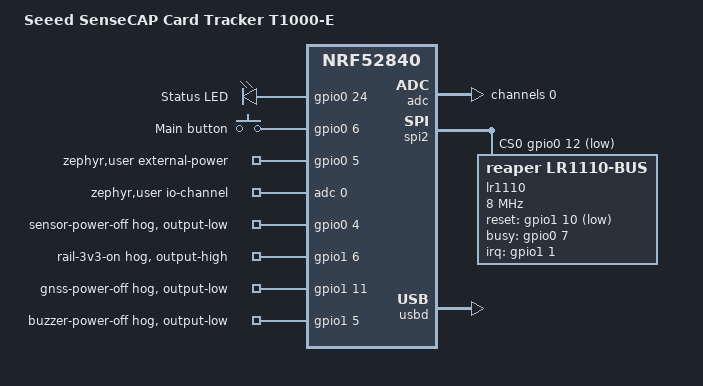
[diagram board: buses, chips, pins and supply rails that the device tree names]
/*
 * Seeed SenseCAP Card Tracker T1000-E: nRF52840 with a Semtech LR1110, the factory Adafruit nRF52
 * UF2 bootloader and SoftDevice S140 v7. Pins follow Seeed's T1000-E reference firmware; see
 * docs/guides/hardware.md. GNSS, the accelerometer, the light and temperature sensors and the
 * buzzer are not used, and their power stays off.
 */

/dts-v1/;
#include <nordic/nrf52840_qiaa.dtsi>
#include <zephyr/dt-bindings/adc/nrf-saadc.h>
#include "t1000_e-pinctrl.dtsi"

/ {
	model = "Seeed SenseCAP Card Tracker T1000-E";
	compatible = "seeed,t1000-e";

	chosen {
		zephyr,sram = &sram0;
		zephyr,flash = &flash0;
		zephyr,code-partition = &code_partition;
	};

	leds {
		compatible = "gpio-leds";

		led0: led_0 {
			gpios = <&gpio0 24 GPIO_ACTIVE_HIGH>;
			label = "Status LED";
		};
	};

	buttons {
		compatible = "gpio-keys";

		button0: button_0 {
			gpios = <&gpio0 6 (GPIO_PULL_DOWN | GPIO_ACTIVE_HIGH)>;
			label = "Main button";
			zephyr,code = <INPUT_KEY_0>;
		};
	};

	/* Board signals read by the firmware. */
	zephyr,user {
		/* Battery: P0.02 (AIN0) behind a 2:1 divider. */
		io-channels = <&adc 0>;
		/* High while USB power is present. */
		external-power-gpios = <&gpio0 5 GPIO_ACTIVE_HIGH>;
	};

	aliases {
		led0 = &led0;
		sw0 = &button0;
	};
};

&gpiote {
	status = "okay";
};

&gpio0 {
	status = "okay";

	/* Sensor rail off: the light and temperature sensors are not used. */
	sensor-power-off {
		gpio-hog;
		gpios = <4 GPIO_ACTIVE_HIGH>;
		output-low;
	};
};

&gpio1 {
	status = "okay";

	/* The board's 3.3 V rail on, as Seeed's and RIOT's board code do at boot. */
	rail-3v3-on {
		gpio-hog;
		gpios = <6 GPIO_ACTIVE_HIGH>;
		output-high;
	};

	/* GNSS power off: GPS is deferred (see AI.md). */
	gnss-power-off {
		gpio-hog;
		gpios = <11 GPIO_ACTIVE_HIGH>;
		output-low;
	};

	/* Buzzer power off. */
	buzzer-power-off {
		gpio-hog;
		gpios = <5 GPIO_ACTIVE_HIGH>;
		output-low;
	};
};

&adc {
	status = "okay";
	#address-cells = <1>;
	#size-cells = <0>;

	channel@0 {
		reg = <0>;
		zephyr,gain = "ADC_GAIN_1_6";
		zephyr,reference = "ADC_REF_INTERNAL";
		zephyr,vref-mv = <600>;
		zephyr,acquisition-time = <ADC_ACQ_TIME(ADC_ACQ_TIME_MICROSECONDS, 40)>;
		zephyr,input-positive = <NRF_SAADC_AIN0>;
		zephyr,resolution = <12>;
	};
};

&spi2 {
	compatible = "nordic,nrf-spim";
	status = "okay";
	cs-gpios = <&gpio0 12 GPIO_ACTIVE_LOW>;
	pinctrl-0 = <&spi2_default>;
	pinctrl-1 = <&spi2_sleep>;
	pinctrl-names = "default", "sleep";

	lr1110: lr1110@0 {
		compatible = "reaper,lr1110-bus";
		reg = <0>;
		spi-max-frequency = <DT_FREQ_M(8)>;
		reset-gpios = <&gpio1 10 GPIO_ACTIVE_LOW>;
		busy-gpios = <&gpio0 7 GPIO_ACTIVE_HIGH>;
		irq-gpios = <&gpio1 1 GPIO_ACTIVE_HIGH>;
	};
};

&flash0 {
	/*
	 * 0x00000 SoftDevice S140 v7, kept for the bootloader      (156 KB)
	 * 0x27000 Reaper Mesh application                           (748 KB)
	 * 0xe2000 reaper_nvs: settings and the boot counter          (16 KB)
	 * 0xe6000 reaper_keys: the network key record, 2 sectors      (8 KB)
	 * 0xe8000 storage: Bluetooth bonds and identity               (8 KB)
	 * 0xea000 left alone: the bootloader reserves it for app data (40 KB)
	 * 0xf4000 UF2 bootloader                                      (48 KB)
	 *
	 * The bootloader's serial update erases only the pages the new image needs, from 0x27000, so
	 * the data areas survive updates. A first install sends an image padded with 0xff up to
	 * 0xea000 instead, which blanks them; nothing above 0xea000 can be written that way.
	 */
	partitions {
		ranges;
		#address-cells = <1>;
		#size-cells = <1>;

		softdevice_partition: partition@0 {
			compatible = "zephyr,mapped-partition";
			label = "softdevice";
			reg = <0x00000000 0x00027000>;
			read-only;
		};

		code_partition: partition@27000 {
			compatible = "zephyr,mapped-partition";
			label = "code";
			reg = <0x00027000 0x000bb000>;
		};

		reaper_nvs_partition: partition@e2000 {
			compatible = "zephyr,mapped-partition";
			label = "reaper_nvs";
			reg = <0x000e2000 0x00004000>;
		};

		reaper_keys_partition: partition@e6000 {
			compatible = "zephyr,mapped-partition";
			label = "reaper_keys";
			reg = <0x000e6000 0x00002000>;
		};

		storage_partition: partition@e8000 {
			compatible = "zephyr,mapped-partition";
			label = "storage";
			reg = <0x000e8000 0x00002000>;
		};

		boot_partition: partition@f4000 {
			compatible = "zephyr,mapped-partition";
			label = "uf2";
			reg = <0x000f4000 0x0000c000>;
			read-only;
		};
	};
};

zephyr_udc0: &usbd {
	compatible = "nordic,nrf-usbd";
	status = "okay";

	cdc_acm_uart: cdc_acm_uart {
		compatible = "zephyr,cdc-acm-uart";
	};
};
